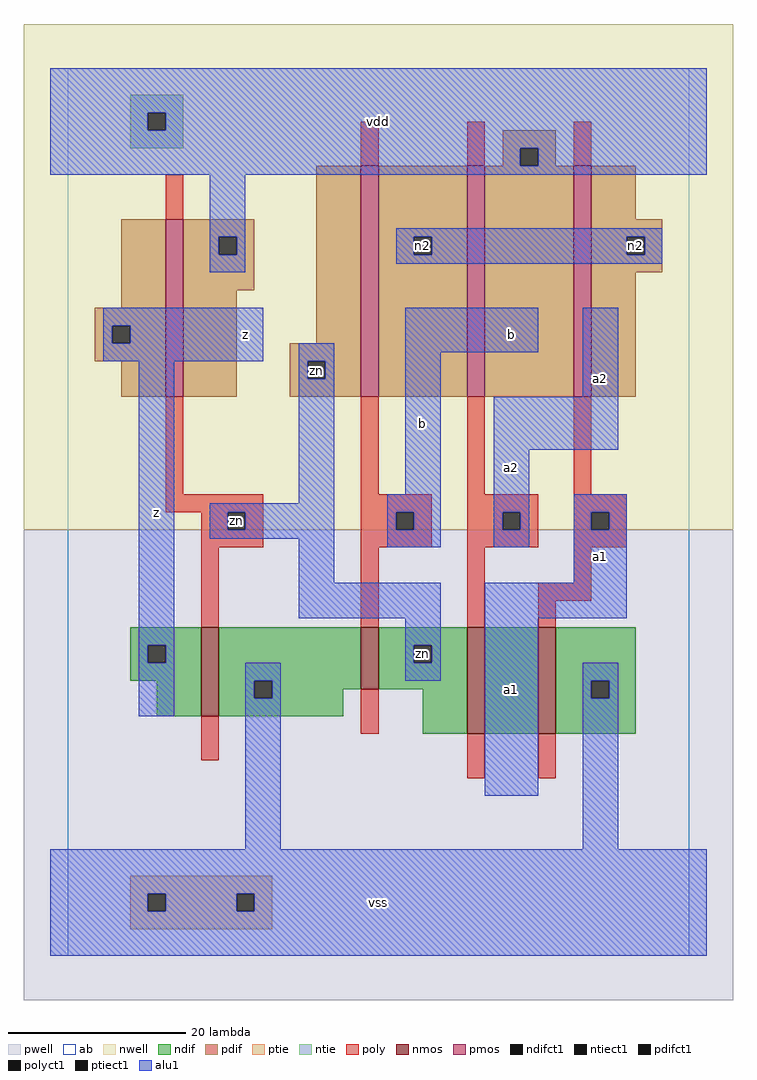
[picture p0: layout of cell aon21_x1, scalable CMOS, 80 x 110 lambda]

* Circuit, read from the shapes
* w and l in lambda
.subckt aon21_x1 a1 a2 b n2 vdd vss z zn
M1 vss zn z vss nfet w=10 l=2
M2 zn b vss vss nfet w=7 l=2
M3 n1 a2 zn vss nfet w=12 l=2
M4 vss a1 n1 vss nfet w=12 l=2
M5 vdd zn z vdd pfet w=20 l=2
M6 n2 b zn vdd pfet w=26 l=2
M7 vdd a2 n2 vdd pfet w=26 l=2
M8 n2 a1 vdd vdd pfet w=26 l=2
.ends

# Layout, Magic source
magic
tech scmos
<< ab >>
rect 0 0 70 100
<< nwell >>
rect -5 48 75 105
<< pwell >>
rect -5 -5 75 48
<< poly >>
rect 33 89 35 94
rect 45 89 47 94
rect 57 89 59 94
rect 11 83 13 88
rect 11 52 13 63
rect 33 52 35 63
rect 45 52 47 63
rect 57 52 59 63
rect 11 50 22 52
rect 15 48 18 50
rect 20 48 22 50
rect 15 46 22 48
rect 33 50 41 52
rect 33 48 37 50
rect 39 48 41 50
rect 33 46 41 48
rect 45 50 53 52
rect 45 48 49 50
rect 51 48 53 50
rect 45 46 53 48
rect 57 50 63 52
rect 57 48 59 50
rect 61 48 63 50
rect 57 46 63 48
rect 15 37 17 46
rect 33 37 35 46
rect 45 37 47 46
rect 57 42 59 46
rect 53 40 59 42
rect 53 37 55 40
rect 15 22 17 27
rect 33 25 35 30
rect 45 20 47 25
rect 53 20 55 25
<< ndif >>
rect 7 35 15 37
rect 7 33 9 35
rect 11 33 15 35
rect 7 31 15 33
rect 10 27 15 31
rect 17 31 33 37
rect 17 29 21 31
rect 23 30 33 31
rect 35 35 45 37
rect 35 33 39 35
rect 41 33 45 35
rect 35 30 45 33
rect 23 29 31 30
rect 17 27 31 29
rect 40 25 45 30
rect 47 25 53 37
rect 55 31 64 37
rect 55 29 59 31
rect 61 29 64 31
rect 55 25 64 29
<< pdif >>
rect 49 91 55 93
rect 49 89 51 91
rect 53 89 55 91
rect 6 73 11 83
rect 3 71 11 73
rect 3 69 5 71
rect 7 69 11 71
rect 3 67 11 69
rect 6 63 11 67
rect 13 81 21 83
rect 13 79 17 81
rect 19 79 21 81
rect 13 75 21 79
rect 13 63 19 75
rect 28 69 33 89
rect 25 67 33 69
rect 25 65 27 67
rect 29 65 33 67
rect 25 63 33 65
rect 35 81 45 89
rect 35 79 39 81
rect 41 79 45 81
rect 35 63 45 79
rect 47 63 57 89
rect 59 83 64 89
rect 59 81 67 83
rect 59 79 63 81
rect 65 79 67 81
rect 59 77 67 79
rect 59 63 64 77
<< alu1 >>
rect -2 95 72 100
rect -2 93 9 95
rect 11 93 72 95
rect -2 91 72 93
rect -2 89 51 91
rect 53 89 72 91
rect -2 88 72 89
rect 16 81 20 88
rect 16 79 17 81
rect 19 79 20 81
rect 16 77 20 79
rect 37 81 67 82
rect 37 79 39 81
rect 41 79 63 81
rect 65 79 67 81
rect 37 78 67 79
rect 4 71 22 73
rect 4 69 5 71
rect 7 69 22 71
rect 4 67 22 69
rect 26 67 30 69
rect 8 35 12 67
rect 26 65 27 67
rect 29 65 30 67
rect 26 51 30 65
rect 38 68 53 73
rect 38 52 42 68
rect 58 63 62 73
rect 16 50 30 51
rect 16 48 18 50
rect 20 48 30 50
rect 16 47 30 48
rect 26 42 30 47
rect 36 50 42 52
rect 36 48 37 50
rect 39 48 42 50
rect 36 46 42 48
rect 48 57 62 63
rect 48 50 52 57
rect 48 48 49 50
rect 51 48 52 50
rect 48 46 52 48
rect 57 50 63 52
rect 57 48 59 50
rect 61 48 63 50
rect 57 42 63 48
rect 26 38 42 42
rect 8 33 9 35
rect 11 33 12 35
rect 38 35 42 38
rect 38 33 39 35
rect 41 33 42 35
rect 8 27 12 33
rect 20 31 24 33
rect 38 31 42 33
rect 47 38 63 42
rect 20 29 21 31
rect 23 29 24 31
rect 20 12 24 29
rect 47 18 53 38
rect 58 31 62 33
rect 58 29 59 31
rect 61 29 62 31
rect 58 12 62 29
rect -2 7 72 12
rect -2 5 9 7
rect 11 5 19 7
rect 21 5 72 7
rect -2 0 72 5
<< ptie >>
rect 7 7 23 9
rect 7 5 9 7
rect 11 5 19 7
rect 21 5 23 7
rect 7 3 23 5
<< ntie >>
rect 7 95 13 97
rect 7 93 9 95
rect 11 93 13 95
rect 7 91 13 93
<< nmos >>
rect 15 27 17 37
rect 33 30 35 37
rect 45 25 47 37
rect 53 25 55 37
<< pmos >>
rect 11 63 13 83
rect 33 63 35 89
rect 45 63 47 89
rect 57 63 59 89
<< polyct1 >>
rect 18 48 20 50
rect 37 48 39 50
rect 49 48 51 50
rect 59 48 61 50
<< ndifct1 >>
rect 9 33 11 35
rect 21 29 23 31
rect 39 33 41 35
rect 59 29 61 31
<< ntiect1 >>
rect 9 93 11 95
<< ptiect1 >>
rect 9 5 11 7
rect 19 5 21 7
<< pdifct1 >>
rect 51 89 53 91
rect 5 69 7 71
rect 17 79 19 81
rect 27 65 29 67
rect 39 79 41 81
rect 63 79 65 81
<< labels >>
rlabel polyct1 19 49 19 49 6 zn
rlabel ndifct1 40 34 40 34 6 zn
rlabel pdifct1 28 66 28 66 6 zn
rlabel pdifct1 40 80 40 80 6 n2
rlabel pdifct1 64 80 64 80 6 n2
rlabel alu1 10 50 10 50 6 z
rlabel alu1 20 70 20 70 6 z
rlabel alu1 35 6 35 6 6 vss
rlabel alu1 50 30 50 30 6 a1
rlabel alu1 50 70 50 70 6 b
rlabel alu1 50 55 50 55 6 a2
rlabel alu1 40 60 40 60 6 b
rlabel alu1 35 94 35 94 6 vdd
rlabel alu1 60 45 60 45 6 a1
rlabel alu1 60 65 60 65 6 a2
<< end >>
